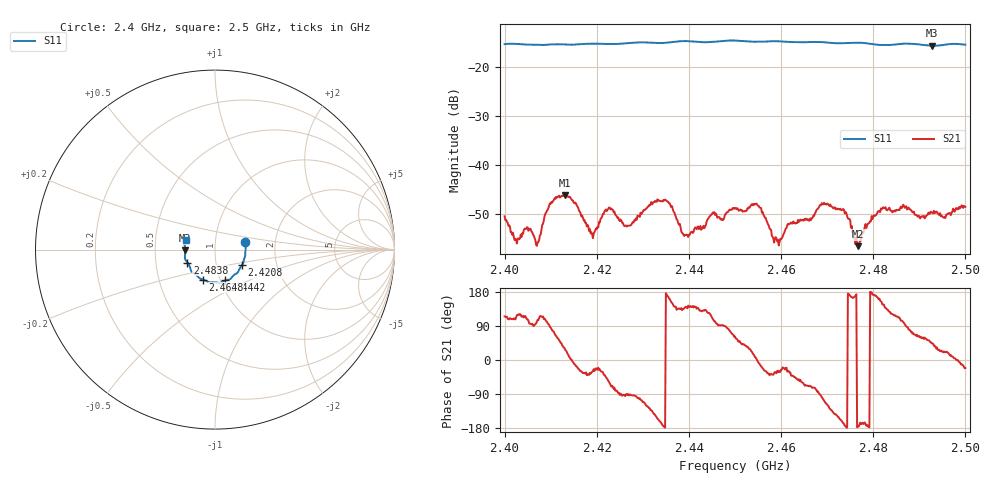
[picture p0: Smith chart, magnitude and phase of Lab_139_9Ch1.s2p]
# Hz S RI R 50
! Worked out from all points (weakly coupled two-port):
!   601 points, 2.4 GHz to 2.5 GHz, reference 50 ohm
!   highest |S21| = -46.11 dB at 2.413 GHz (marker M1); lowest = -56.6 dB at 2.4767 GHz (marker M2)
!   lowest |S11| = -15.6 dB at 2.4928 GHz (marker M3), VSWR 1.40, Z = 35.8 - j0.354 ohm
!   |S11| at or under -10 dB: start of sweep to end of sweep
!   S12 and S22 are empty: the file has one direction only
!   S11 on the Smith chart (normalised r, x): 2.4 GHz: 1.40, +0.12; 2.4208 GHz: 1.33, -0.24; 2.4442 GHz: 1.05, -0.37; 2.4648 GHz: 0.83, -0.29; 2.4838 GHz: 0.73, -0.11; 2.5 GHz: 0.72, +0.08
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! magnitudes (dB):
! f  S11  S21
! 2.4 GHz  -15.3  -50.5
! 2.407 GHz  -15.4  -56.5
! 2.4097 GHz  -15.4  -48.3
! 2.413 GHz  -15.3  -46.1
! 2.4167 GHz  -15.2  -50.5
! 2.4188 GHz  -15.2  -53.8
! 2.4208 GHz  -15.2  -51.0
! 2.427 GHz  -15.0  -52.4
! 2.4333 GHz  -15.0  -47.3
! 2.4393 GHz  -14.6  -54.3
! 2.4442 GHz  -14.9  -51.0
! 2.45 GHz  -14.5  -48.8
! 2.4552 GHz  -14.8  -48.4
! 2.459 GHz  -14.7  -55.0
! 2.4648 GHz  -14.9  -51.4
! 2.4667 GHz  -14.8  -50.9
! 2.4732 GHz  -15.1  -49.2
! 2.4767 GHz  -15.0  -56.6
! 2.4833 GHz  -15.5  -48.9
! 2.4838 GHz  -15.4  -49.3
! 2.4928 GHz  -15.6  -49.8
! 2.5 GHz  -15.4  -48.6
